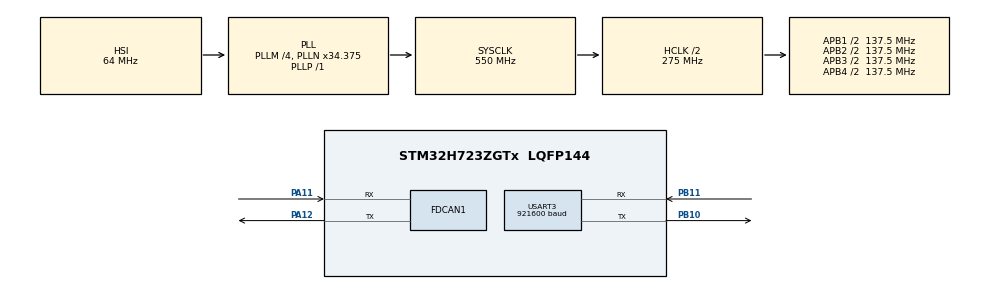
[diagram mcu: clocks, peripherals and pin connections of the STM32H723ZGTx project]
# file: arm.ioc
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CORTEX_M7.default_mode_Activation=1
FDCAN1.CalculateBaudRateNominal=1000000
FDCAN1.CalculateTimeBitNominal=1000
FDCAN1.CalculateTimeQuantumNominal=20.833333333333332
FDCAN1.NominalPrescaler=2
FDCAN1.NominalTimeSeg1=37
FDCAN1.NominalTimeSeg2=10
FDCAN1.RxBuffersNbr=8
FDCAN1.RxFifo0ElmtsNbr=8
FDCAN1.RxFifo1ElmtsNbr=8
FDCAN1.StdFiltersNbr=8
FDCAN1.TxFifoQueueElmtsNbr=8
FREERTOS.Mutexes01=motorDataMutex,Dynamic,NULL,Available
FREERTOS.Tasks01=defaultTask,24,256,StartDefaultTask,Default,NULL,Dynamic,NULL,NULL;motorPIDTASK,40,512,StartMotorPIDTask,Default,NULL,Dynamic,NULL,NULL;motorCurTask,24,512,StartMotorCurTask,Default,NULL,Dynamic,NULL,NULL;armTask,16,512,StartArmTask,Default,NULL,Dynamic,NULL,NULL
Mcu.Family=STM32H7
Mcu.Name=STM32H723ZGTx
Mcu.Package=LQFP144
NVIC.PriorityGroup=NVIC_PRIORITYGROUP_4
NVIC.TIM1_UP_IRQn=true\:5\:0\:false\:false\:true\:true\:true\:true\:true
NVIC.TIM2_IRQn=true\:5\:0\:false\:false\:true\:true\:true\:true\:true
NVIC.TIM6_DAC_IRQn=true\:5\:0\:false\:false\:true\:true\:true\:true\:true
NVIC.USART3_IRQn=true\:5\:0\:false\:false\:true\:true\:true\:true\:true
PA11.Mode=FDCAN_Activate
PA11.Signal=FDCAN1_RX
PA12.Mode=FDCAN_Activate
PA12.Signal=FDCAN1_TX
PA13(JTMS/SWDIO).Mode=Serial_Wire
PA13(JTMS/SWDIO).Signal=DEBUG_JTMS-SWDIO
PA14(JTCK/SWCLK).Mode=Serial_Wire
PA14(JTCK/SWCLK).Signal=DEBUG_JTCK-SWCLK
PB10.Mode=Asynchronous
PB10.Signal=USART3_TX
PB11.Mode=Asynchronous
PB11.Signal=USART3_RX
PC14-OSC32_IN.Mode=LSE-External-Oscillator
PC14-OSC32_IN.Signal=RCC_OSC32_IN
PC15-OSC32_OUT.Mode=LSE-External-Oscillator
PC15-OSC32_OUT.Signal=RCC_OSC32_OUT
PH0-OSC_IN.Mode=HSE-External-Oscillator
PH0-OSC_IN.Signal=RCC_OSC_IN
PH1-OSC_OUT.Mode=HSE-External-Oscillator
PH1-OSC_OUT.Signal=RCC_OSC_OUT
ProjectManager.HeapSize=0x200
ProjectManager.StackSize=0x400
ProjectManager.TargetToolchain=STM32CubeIDE
RCC.ADCFreq_Value=96000000
RCC.APB1Freq_Value=137500000
RCC.APB2Freq_Value=137500000
RCC.APB3Freq_Value=137500000
RCC.APB4Freq_Value=137500000
RCC.CortexFreq_Value=550000000
RCC.D1PPRE=RCC_APB3_DIV2
RCC.D2PPRE1=RCC_APB1_DIV2
RCC.D2PPRE2=RCC_APB2_DIV2
RCC.D3PPRE=RCC_APB4_DIV2
RCC.DIVM1=4
RCC.DIVM2=4
RCC.DIVN1=34
RCC.DIVN2=12
RCC.DIVP1=1
RCC.DIVQ1=4
RCC.FDCANCLockSelection=RCC_FDCANCLKSOURCE_PLL2
RCC.HCLKFreq_Value=275000000
RCC.HPRE=RCC_HCLK_DIV2
RCC.PLL2FRACN=0
RCC.PLL3FRACN=0
RCC.PLLFRACN=3072
RCC.SYSCLKFreq_VALUE=550000000
RCC.SYSCLKSource=RCC_SYSCLKSOURCE_PLLCLK
RCC.USBFreq_Value=137500000
TIM1.Period=1000-1
TIM1.Prescaler=275-1
TIM2.Period=1000-1
TIM2.Prescaler=275-1
TIM6.Prescaler=275-1
USART3.BaudRate=921600
USART3.VirtualMode-Asynchronous=VM_ASYNC
VP_FREERTOS_VS_CMSIS_V2.Mode=CMSIS_V2
VP_MEMORYMAP_VS_MEMORYMAP.Mode=CurAppReg
VP_TIM1_VS_ClockSourceINT.Mode=Internal
VP_TIM2_VS_ClockSourceINT.Mode=Internal
VP_TIM6_VS_ClockSourceINT.Mode=Enable_Timer
board=custom

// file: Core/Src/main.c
/* USER CODE BEGIN Header */
/**
  ******************************************************************************
  * @file           : main.c
  * @brief          : Main program body
  ******************************************************************************
  * @attention
  *
  * Copyright (c) 2026 STMicroelectronics.
  * All rights reserved.
  *
  * This software is licensed under terms that can be found in the LICENSE file
  * in the root directory of this software component.
  * If no LICENSE file comes with this software, it is provided AS-IS.
  *
  ******************************************************************************
  */
/* USER CODE END Header */
#include "main.h"
#include "FreeRTOS.h"
#include "cmsis_os2.h"
#include "fdcan.h"
#include "tim.h"
#include "usart.h"
#include "gpio.h"

/* USER CODE BEGIN Includes */
#include "motor_app.h"
/* USER CODE END Includes */

void SystemClock_Config(void);
static void MPU_Config(void);
void MX_FREERTOS_Init(void);

int main(void)
{

  /* MPU Configuration--------------------------------------------------------*/
  MPU_Config();

  /* MCU Configuration--------------------------------------------------------*/

  /* Reset of all peripherals, Initializes the Flash interface and the Systick. */
  HAL_Init();

  /* Configure the system clock */
  SystemClock_Config();

  /* Initialize all configured peripherals */
  MX_GPIO_Init();
  MX_FDCAN1_Init();
  MX_TIM1_Init();
  MX_TIM2_Init();
  MX_USART3_UART_Init();
  MX_TIM6_Init();
  /* USER CODE BEGIN 2 */

  HAL_TIM_Base_Start_IT(&htim1); // 启动定时器1中断（1kHz 发电流）
  HAL_TIM_Base_Start_IT(&htim2); // 启动定时器2中断
  Motor_AppInit();               // 电机初始化（CAN/PID/参数），见 motor_app.c
  HAL_FDCAN_Start(&hfdcan1);
  /* USER CODE END 2 */

  /* Init scheduler */
  osKernelInitialize();  /* Call init function for freertos objects (in cmsis_os2.c) */
  MX_FREERTOS_Init();

  /* Start scheduler */
  osKernelStart();

  /* We should never get here as control is now taken by the scheduler */

  /* Infinite loop */
  while (1)
  {

  }
}

void SystemClock_Config(void)
{
  RCC_OscInitTypeDef RCC_OscInitStruct = {0};
  RCC_ClkInitTypeDef RCC_ClkInitStruct = {0};

  /** Supply configuration update enable
  */
  HAL_PWREx_ConfigSupply(PWR_LDO_SUPPLY);

  /** Configure the main internal regulator output voltage
  */
  __HAL_PWR_VOLTAGESCALING_CONFIG(PWR_REGULATOR_VOLTAGE_SCALE0);

  while(!__HAL_PWR_GET_FLAG(PWR_FLAG_VOSRDY)) {}

  /** Initializes the RCC Oscillators according to the specified parameters
  * in the RCC_OscInitTypeDef structure.
  */
  RCC_OscInitStruct.OscillatorType = RCC_OSCILLATORTYPE_HSI;
  RCC_OscInitStruct.HSIState = RCC_HSI_DIV1;
  RCC_OscInitStruct.HSICalibrationValue = 64;
  RCC_OscInitStruct.PLL.PLLState = RCC_PLL_ON;
  RCC_OscInitStruct.PLL.PLLSource = RCC_PLLSOURCE_HSI;
  RCC_OscInitStruct.PLL.PLLM = 4;
  RCC_OscInitStruct.PLL.PLLN = 34;
  RCC_OscInitStruct.PLL.PLLP = 1;
  RCC_OscInitStruct.PLL.PLLQ = 4;
  RCC_OscInitStruct.PLL.PLLR = 2;
  RCC_OscInitStruct.PLL.PLLRGE = RCC_PLL1VCIRANGE_3;
  RCC_OscInitStruct.PLL.PLLVCOSEL = RCC_PLL1VCOWIDE;
  RCC_OscInitStruct.PLL.PLLFRACN = 3072;
  if (HAL_RCC_OscConfig(&RCC_OscInitStruct) != HAL_OK)
  {
    Error_Handler();
  }

  /** Initializes the CPU, AHB and APB buses clocks
  */
  RCC_ClkInitStruct.ClockType = RCC_CLOCKTYPE_HCLK|RCC_CLOCKTYPE_SYSCLK
                              |RCC_CLOCKTYPE_PCLK1|RCC_CLOCKTYPE_PCLK2
                              |RCC_CLOCKTYPE_D3PCLK1|RCC_CLOCKTYPE_D1PCLK1;
  RCC_ClkInitStruct.SYSCLKSource = RCC_SYSCLKSOURCE_PLLCLK;
  RCC_ClkInitStruct.SYSCLKDivider = RCC_SYSCLK_DIV1;
  RCC_ClkInitStruct.AHBCLKDivider = RCC_HCLK_DIV2;
  RCC_ClkInitStruct.APB3CLKDivider = RCC_APB3_DIV2;
  RCC_ClkInitStruct.APB1CLKDivider = RCC_APB1_DIV2;
  RCC_ClkInitStruct.APB2CLKDivider = RCC_APB2_DIV2;
  RCC_ClkInitStruct.APB4CLKDivider = RCC_APB4_DIV2;

  if (HAL_RCC_ClockConfig(&RCC_ClkInitStruct, FLASH_LATENCY_3) != HAL_OK)
  {
    Error_Handler();
  }
}

 /* MPU Configuration */

void MPU_Config(void)
{
  MPU_Region_InitTypeDef MPU_InitStruct = {0};

  /* Disables the MPU */
  HAL_MPU_Disable();

  /** Initializes and configures the Region and the memory to be protected
  */
  MPU_InitStruct.Enable = MPU_REGION_ENABLE;
  MPU_InitStruct.Number = MPU_REGION_NUMBER0;
  MPU_InitStruct.BaseAddress = 0x0;
  MPU_InitStruct.Size = MPU_REGION_SIZE_4GB;
  MPU_InitStruct.SubRegionDisable = 0x87;
  MPU_InitStruct.TypeExtField = MPU_TEX_LEVEL0;
  MPU_InitStruct.AccessPermission = MPU_REGION_NO_ACCESS;
  MPU_InitStruct.DisableExec = MPU_INSTRUCTION_ACCESS_DISABLE;
  MPU_InitStruct.IsShareable = MPU_ACCESS_SHAREABLE;
  MPU_InitStruct.IsCacheable = MPU_ACCESS_NOT_CACHEABLE;
  MPU_InitStruct.IsBufferable = MPU_ACCESS_NOT_BUFFERABLE;

  HAL_MPU_ConfigRegion(&MPU_InitStruct);
  /* Enables the MPU */
  HAL_MPU_Enable(MPU_PRIVILEGED_DEFAULT);

}

void Error_Handler(void)
{
  __disable_irq();
  while (1)
  {
  }
}

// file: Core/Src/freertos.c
/* USER CODE BEGIN Header */
/**
  ******************************************************************************
  * File Name          : freertos.c
  * Description        : Code for freertos applications
  ******************************************************************************
  * @attention
  *
  * Copyright (c) 2026 STMicroelectronics.
  * All rights reserved.
  *
  * This software is licensed under terms that can be found in the LICENSE file
  * in the root directory of this software component.
  * If no LICENSE file comes with this software, it is provided AS-IS.
  *
  ******************************************************************************
  */
/* USER CODE END Header */

#include "FreeRTOS.h"
#include "task.h"
#include "main.h"
#include "FreeRTOS.h"
#include "cmsis_os2.h"

/* USER CODE BEGIN Includes */
#include "motor_app.h"
#include "m3508_driver.h"
/* USER CODE END Includes */

/* USER CODE BEGIN Variables */
volatile float g_arm_distance_mm = 0.0f;   /* 测试：正负=方向 */
volatile uint8_t g_arm_busy = 0u;
volatile uint8_t g_arm_motor_id = 1;       /* 目标电机 CAN ID */
osSemaphoreId_t armSemHandle;

/* USER CODE END Variables */
/* Definitions for defaultTask */
osThreadId_t defaultTaskHandle;
const osThreadAttr_t defaultTask_attributes = {
  .name = "defaultTask",
  .stack_size = 256 * 4,
  .priority = (osPriority_t) osPriorityNormal,
};
/* Definitions for motorPIDTASK */
osThreadId_t motorPIDTASKHandle;
const osThreadAttr_t motorPIDTASK_attributes = {
  .name = "motorPIDTASK",
  .stack_size = 512 * 4,
  .priority = (osPriority_t) osPriorityHigh,
};
/* Definitions for motorCurTask */
osThreadId_t motorCurTaskHandle;
const osThreadAttr_t motorCurTask_attributes = {
  .name = "motorCurTask",
  .stack_size = 512 * 4,
  .priority = (osPriority_t) osPriorityNormal,
};
/* Definitions for armTask */
osThreadId_t armTaskHandle;
const osThreadAttr_t armTask_attributes = {
  .name = "armTask",
  .stack_size = 512 * 4,
  .priority = (osPriority_t) osPriorityBelowNormal,
};
/* Definitions for motorDataMutex */
osMutexId_t motorDataMutexHandle;
const osMutexAttr_t motorDataMutex_attributes = {
  .name = "motorDataMutex"
};

/* USER CODE BEGIN FunctionPrototypes */
static void SimVision_GiveMove(uint8_t can_id, float distance_mm);
/* USER CODE END FunctionPrototypes */

void StartDefaultTask(void *argument);
void StartMotorPIDTask(void *argument);
void StartMotorCurTask(void *argument);
void StartArmTask(void *argument);

void MX_FREERTOS_Init(void); /* (MISRA C 2004 rule 8.1) */

void MX_FREERTOS_Init(void) {
  /* Create the mutex(es) */
  /* creation of motorDataMutex */
  motorDataMutexHandle = osMutexNew(&motorDataMutex_attributes);

  /* USER CODE BEGIN RTOS_SEMAPHORES */

  armSemHandle = osSemaphoreNew(1, 0, NULL);   /* 二进制信号量，初始0 → 无信号量=永久挂起 */

  /* add semaphores, ... */
  /* USER CODE END RTOS_SEMAPHORES */

  /* Create the thread(s) */
  /* creation of defaultTask */
  defaultTaskHandle = osThreadNew(StartDefaultTask, NULL, &defaultTask_attributes);

  /* creation of motorPIDTASK */
  motorPIDTASKHandle = osThreadNew(StartMotorPIDTask, NULL, &motorPIDTASK_attributes);

  /* creation of motorCurTask */
  motorCurTaskHandle = osThreadNew(StartMotorCurTask, NULL, &motorCurTask_attributes);

  /* creation of armTask */
  armTaskHandle = osThreadNew(StartArmTask, NULL, &armTask_attributes);

  /* USER CODE BEGIN RTOS_THREADS */
  /* 机械臂任务：上电演示一轮“正转→锁定→回位→锁死”，之后保持锁定 */
  armTaskHandle = osThreadNew(StartArmTask, NULL, &armTask_attributes);
  /* USER CODE END RTOS_THREADS */

}

void StartDefaultTask(void *argument)
{
  /* USER CODE BEGIN StartDefaultTask */
  /* Infinite loop */
  for(;;)
  {
	  SimVision_GiveMove(1,  400.0f);     //模拟视觉：1 号电机正转 400mm
	  while (g_arm_busy) vTaskDelay(pdMS_TO_TICKS(10));    //等正转完成
	  vTaskDelay(pdMS_TO_TICKS(4000));  //等动作完成 + 锁死停留

	  SimVision_GiveMove(2, -400.0f);     //模拟视觉：2 号电机反转回 400mm
	  while (g_arm_busy) vTaskDelay(pdMS_TO_TICKS(10));    //等反转完成
	  vTaskDelay(pdMS_TO_TICKS(4000));

	  SimVision_GiveMove(1, -800.0f);     //模拟视觉：1 号电机反转回 800mm
	  while (g_arm_busy) vTaskDelay(pdMS_TO_TICKS(10));    //等反转完成
	  vTaskDelay(pdMS_TO_TICKS(4000));
    osDelay(1);
  }
  /* USER CODE END StartDefaultTask */
}

void StartMotorPIDTask(void *argument)
{
  /* USER CODE BEGIN StartMotorPIDTask */
  /* Infinite loop */
  for(;;)
  {
    osThreadFlagsWait(0x01, osFlagsWaitAny, osWaitForever);
    osMutexAcquire(motorDataMutexHandle, osWaitForever);
    Motor_PIDUpdate();
    VOFA_Send();  // 需要遥测时取消注释
    osMutexRelease(motorDataMutexHandle);
  }
  /* USER CODE END StartMotorPIDTask */
}

void StartMotorCurTask(void *argument)
{
  /* USER CODE BEGIN StartMotorCurTask */
  /* Infinite loop */
  for(;;)
  {
    osThreadFlagsWait(0x01, osFlagsWaitAny, osWaitForever);// 等待 TIM1 1kHz 中断触发
    osMutexAcquire(motorDataMutexHandle, osWaitForever);
    Motor_CurUpdate();
    osMutexRelease(motorDataMutexHandle);

     VOFA_Send();  // 需要遥测时取消注释
  }
  /* USER CODE END StartMotorCurTask */
}

void StartArmTask(void *argument)
{
  /* USER CODE BEGIN StartArmTask */
  /* Infinite loop */
	/* 等系统稳定、等 C620 完成上电自检 */
	    while (!M3508_IsFeedbackReady()) {
	        vTaskDelay(pdMS_TO_TICKS(50));
	    }
	    vTaskDelay(pdMS_TO_TICKS(100));

	    /* 无信号量 → 永久挂起；每次收到 Give → 执行一次移动（锁死保持到下次） */
	    for (;;)
	    {
	        osSemaphoreAcquire(armSemHandle, osWaitForever);   /* 阻塞等信号量 */
	        Arm_MoveLock(g_arm_motor_id, (double)g_arm_distance_mm);           /* 一次动作 */
	        g_arm_busy = 0u;
	    }
  /* USER CODE END StartArmTask */
}

/* USER CODE BEGIN Application */

/* 模拟视觉模块：这就是将来 uart_interact.c 的 OnFrame case 里要调的两行。
 * 正式接视觉时，删掉本函数，让 UART 回调直接调这两行即可。 */
static void SimVision_GiveMove(uint8_t can_id, float distance_mm)
{
    g_arm_motor_id    = can_id;           /* 目标电机 CAN ID */
    g_arm_distance_mm = distance_mm;      /* 写距离（float，32位原子写） */
    g_arm_busy = 1u;
    osSemaphoreRelease(armSemHandle);     /* 给信号量（ISR 安全） —— 外部"Release" */
}

// TIM1/TIM2 中断
void HAL_TIM_PeriodElapsedCallback(TIM_HandleTypeDef *htim) {
    if (htim->Instance == TIM1) {        // TIM1 1kHz -> 发电流任务
        if (motorCurTaskHandle != NULL) {
            osThreadFlagsSet(motorCurTaskHandle, 0x01);
        }
    } else if (htim->Instance == TIM2) {
        if (motorPIDTASKHandle != NULL) {
            osThreadFlagsSet(motorPIDTASKHandle, 0x01);
        }
    }
}
/* USER CODE END Application */
